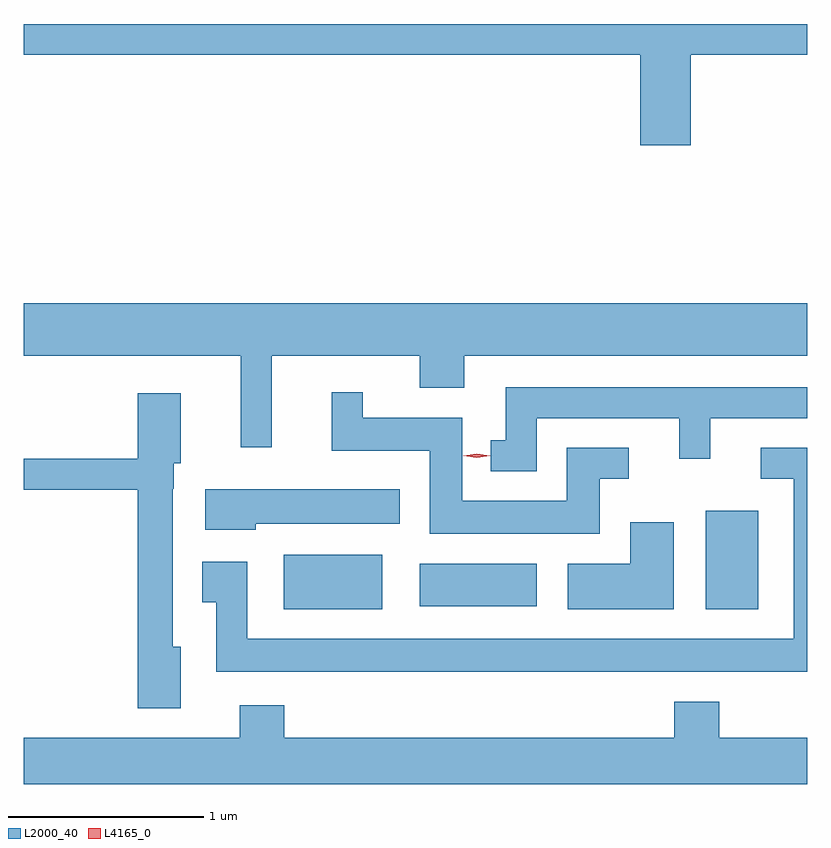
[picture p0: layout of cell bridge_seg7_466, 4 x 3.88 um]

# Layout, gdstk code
import gdstk
lib = gdstk.Library(unit=1e-6, precision=1e-09)
def R(c, l, rs):  # rectangles x0, y0, x1, y1
    for r in rs: c.add(gdstk.rectangle(r[:2], r[2:], *l))
def P(c, l, *ps):  # polygons
    for p in ps: c.add(gdstk.Polygon(p, *l))
L2000_40 = (2000, 40)
L4165_0 = (4165, 0)

bridge_seg7_466 = lib.new_cell('bridge_seg7_466')
R(bridge_seg7_466, L2000_40, [(1442.216,1713.021,1442.719,1713.299), (1444.371,1713.021,1444.639,1713.524), (1442.911,1713.036,1443.509,1713.254)])
P(bridge_seg7_466, L2000_40, [(1444.294,1715.851),(1444.889,1715.851),(1444.889,1716.009),(1440.889,1716.009),(1440.889,1715.851),(1444.036,1715.851),(1444.036,1715.391),(1444.294,1715.391)],
  [(1442.154,1714.316),(1442.911,1714.316),(1442.911,1714.151),(1443.139,1714.151),(1443.139,1714.316),(1444.889,1714.316),(1444.889,1714.584),(1440.889,1714.584),(1440.889,1714.316),(1441.996,1714.316),(1441.996,1713.848),(1442.154,1713.848)],
  [(1443.509,1713.996),(1444.236,1713.996),(1444.236,1713.788),(1444.394,1713.788),(1444.394,1713.996),(1444.889,1713.996),(1444.889,1714.154),(1443.351,1714.154),(1443.351,1713.884),(1443.273,1713.884),(1443.273,1713.726),(1443.509,1713.726)],
  [(1443.829,1713.686),(1443.978,1713.686),(1443.978,1713.844),(1443.661,1713.844),(1443.661,1713.574),(1443.129,1713.574),(1443.129,1713.999),(1442.619,1713.999),(1442.619,1714.128),(1442.461,1714.128),(1442.461,1713.831),(1442.961,1713.831),(1442.961,1713.406),(1443.829,1713.406)],
  [(1441.689,1712.829),(1441.649,1712.829),(1441.649,1713.635),(1441.654,1713.635),(1441.654,1713.766),(1441.689,1713.766),(1441.689,1714.124),(1441.471,1714.124),(1441.471,1713.789),(1440.889,1713.789),(1440.889,1713.631),(1441.471,1713.631),(1441.471,1712.516),(1441.689,1712.516)],
  [(1444.889,1713.844),(1444.653,1713.844),(1444.653,1713.686),(1444.821,1713.686),(1444.821,1712.869),(1442.029,1712.869),(1442.029,1713.264),(1441.801,1713.264),(1441.801,1713.056),(1441.871,1713.056),(1441.871,1712.701),(1444.889,1712.701)],
  [(1442.074,1713.456),(1442.809,1713.456),(1442.809,1713.634),(1441.816,1713.634),(1441.816,1713.426),(1442.074,1713.426)],
  [(1444.209,1713.464),(1443.986,1713.464),(1443.986,1713.254),(1443.666,1713.254),(1443.666,1713.021),(1444.209,1713.021)],
  [(1444.889,1712.364),(1444.439,1712.364),(1444.439,1712.549),(1444.211,1712.549),(1444.211,1712.364),(1442.219,1712.364),(1442.219,1712.529),(1441.991,1712.529),(1441.991,1712.364),(1440.889,1712.364),(1440.889,1712.128),(1444.889,1712.128)])
P(bridge_seg7_466, L4165_0, [(1443.202,1713.794),(1443.132,1713.803),(1443.132,1713.803),(1443.132,1713.804),(1443.202,1713.814),(1443.271,1713.805),(1443.271,1713.804),(1443.271,1713.804)])

lib.write_gds('bridge_seg7_466.gds')
